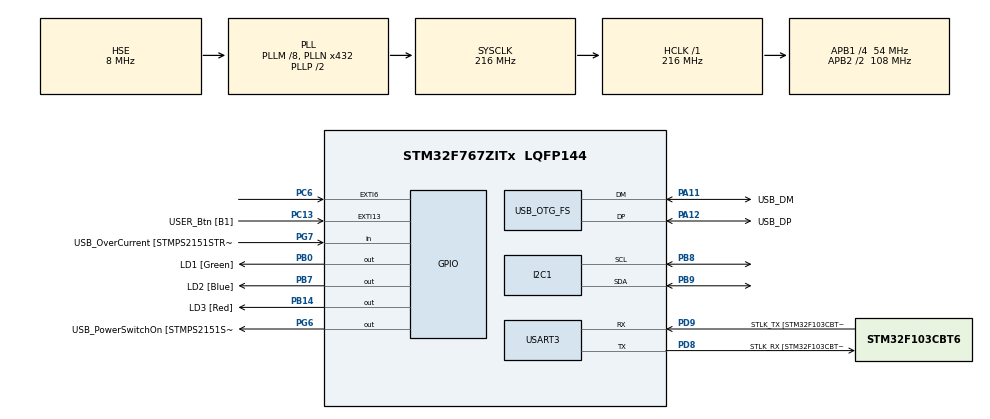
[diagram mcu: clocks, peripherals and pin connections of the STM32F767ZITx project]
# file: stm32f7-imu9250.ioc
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I2C1.Timing=0x20404768
Mcu.Family=STM32F7
Mcu.Name=STM32F767ZITx
Mcu.Package=LQFP144
NVIC.OTG_FS_IRQn=true\:0\:0\:false\:false\:true\:false
NVIC.PriorityGroup=NVIC_PRIORITYGROUP_4
PA11.GPIO_Label=USB_DM
PA11.Mode=Device_Only
PA11.Signal=USB_OTG_FS_DM
PA12.GPIO_Label=USB_DP
PA12.Mode=Device_Only
PA12.Signal=USB_OTG_FS_DP
PA13.GPIO_Label=TMS
PA13.Mode=Serial_Wire
PA13.Signal=SYS_JTMS-SWDIO
PA14.GPIO_Label=TCK
PA14.Mode=Serial_Wire
PA14.Signal=SYS_JTCK-SWCLK
PB0.GPIO_Label=LD1 [Green]
PB0.Signal=GPIO_Output
PB14.GPIO_Label=LD3 [Red]
PB14.Signal=GPIO_Output
PB7.GPIO_Label=LD2 [Blue]
PB7.Signal=GPIO_Output
PB8.Mode=I2C
PB8.Signal=I2C1_SCL
PB9.Mode=I2C
PB9.Signal=I2C1_SDA
PC13.GPIO_Label=USER_Btn [B1]
PC13.Signal=GPXTI13
PC14/OSC32_IN.Mode=LSE-External-Oscillator
PC14/OSC32_IN.Signal=RCC_OSC32_IN
PC15/OSC32_OUT.Mode=LSE-External-Oscillator
PC15/OSC32_OUT.Signal=RCC_OSC32_OUT
PC6.Signal=GPXTI6
PD8.GPIO_Label=STLK_RX [STM32F103CBT6_PA3]
PD8.Mode=Asynchronous
PD8.Signal=USART3_TX
PD9.GPIO_Label=STLK_TX [STM32F103CBT6_PA2]
PD9.Mode=Asynchronous
PD9.Signal=USART3_RX
PG6.GPIO_Label=USB_PowerSwitchOn [STMPS2151STR_EN]
PG6.Signal=GPIO_Output
PG7.GPIO_Label=USB_OverCurrent [STMPS2151STR_FAULT]
PG7.Signal=GPIO_Input
PH0/OSC_IN.GPIO_Label=MCO [STM32F103CBT6_PA8]
PH0/OSC_IN.Mode=HSE-External-Clock-Source
PH0/OSC_IN.Signal=RCC_OSC_IN
PH1/OSC_OUT.Mode=HSE-External-Clock-Source
PH1/OSC_OUT.Signal=RCC_OSC_OUT
ProjectManager.HeapSize=0x200
ProjectManager.StackSize=0x400
ProjectManager.TargetToolchain=TrueSTUDIO
RCC.48MHZClocksFreq_Value=24000000
RCC.AHBFreq_Value=216000000
RCC.APB1CLKDivider=RCC_HCLK_DIV4
RCC.APB1Freq_Value=54000000
RCC.APB1TimFreq_Value=108000000
RCC.APB2CLKDivider=RCC_HCLK_DIV2
RCC.APB2Freq_Value=108000000
RCC.APB2TimFreq_Value=216000000
RCC.CortexFreq_Value=216000000
RCC.HCLKFreq_Value=216000000
RCC.HSE_VALUE=8000000
RCC.HSI_VALUE=16000000
RCC.PLLM=8
RCC.PLLMUL=RCC_PLL_MUL9
RCC.PLLN=432
RCC.PLLQ=9
RCC.PRESCALERUSB=RCC_USBCLKSOURCE_PLL_DIV1_5
RCC.SYSCLKFreq_VALUE=216000000
RCC.SYSCLKSource=RCC_SYSCLKSOURCE_PLLCLK
RCC.SYSCLKSourceVirtual=RCC_SYSCLKSOURCE_PLLCLK
RCC.USBFreq_Value=48000000
RCC.VCOOutputFreq_Value=432000000
USART3.VirtualMode-Asynchronous=VM_ASYNC
USB_DEVICE.CLASS_NAME_FS=CDC
USB_DEVICE.VirtualMode-CDC_FS=Cdc
USB_DEVICE.VirtualModeFS=Cdc_FS
USB_OTG_FS.VirtualMode=Device_Only
VP_USB_DEVICE_VS_USB_DEVICE_CDC_FS.Mode=CDC_FS
board=NUCLEO-F767ZI

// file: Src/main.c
/**
  ******************************************************************************
  * @file           : main.c
  * @brief          : Main program body
  ******************************************************************************
  * This notice applies to any and all portions of this file
  * that are not between comment pairs USER CODE BEGIN and
  * USER CODE END. Other portions of this file, whether
  * inserted by the user or by software development tools
  * are owned by their respective copyright owners.
  *
  * Copyright (c) 2018 STMicroelectronics International N.V.
  * All rights reserved.
  *
  * Redistribution and use in source and binary forms, with or without
  * modification, are permitted, provided that the following conditions are met:
  *
  * 1. Redistribution of source code must retain the above copyright notice,
  *    this list of conditions and the following disclaimer.
  * 2. Redistributions in binary form must reproduce the above copyright notice,
  *    this list of conditions and the following disclaimer in the documentation
  *    and/or other materials provided with the distribution.
  * 3. Neither the name of STMicroelectronics nor the names of other
  *    contributors to this software may be used to endorse or promote products
  *    derived from this software without specific written permission.
  * 4. This software, including modifications and/or derivative works of this
  *    software, must execute solely and exclusively on microcontroller or
  *    microprocessor devices manufactured by or for STMicroelectronics.
  * 5. Redistribution and use of this software other than as permitted under
  *    this license is void and will automatically terminate your rights under
  *    this license.
  *
  * THIS SOFTWARE IS PROVIDED BY STMICROELECTRONICS AND CONTRIBUTORS "AS IS"
  * AND ANY EXPRESS, IMPLIED OR STATUTORY WARRANTIES, INCLUDING, BUT NOT
  * LIMITED TO, THE IMPLIED WARRANTIES OF MERCHANTABILITY, FITNESS FOR A
  * PARTICULAR PURPOSE AND NON-INFRINGEMENT OF THIRD PARTY INTELLECTUAL PROPERTY
  * RIGHTS ARE DISCLAIMED TO THE FULLEST EXTENT PERMITTED BY LAW. IN NO EVENT
  * SHALL STMICROELECTRONICS OR CONTRIBUTORS BE LIABLE FOR ANY DIRECT, INDIRECT,
  * INCIDENTAL, SPECIAL, EXEMPLARY, OR CONSEQUENTIAL DAMAGES (INCLUDING, BUT NOT
  * LIMITED TO, PROCUREMENT OF SUBSTITUTE GOODS OR SERVICES; LOSS OF USE, DATA,
  * OR PROFITS; OR BUSINESS INTERRUPTION) HOWEVER CAUSED AND ON ANY THEORY OF
  * LIABILITY, WHETHER IN CONTRACT, STRICT LIABILITY, OR TORT (INCLUDING
  * NEGLIGENCE OR OTHERWISE) ARISING IN ANY WAY OUT OF THE USE OF THIS SOFTWARE,
  * EVEN IF ADVISED OF THE POSSIBILITY OF SUCH DAMAGE.
  *
  ******************************************************************************
  */
#include "main.h"
#include "usb_device.h"

/* USER CODE BEGIN Includes */
#include "MPU9250.h"
#include "IMU.h"

#ifdef __GNUC__
	/* With GCC/RAISONANCE, small printf (option LD Linker->Libraries->Small printf
		 set to 'Yes') calls __io_putchar() */
	#define PUTCHAR_PROTOTYPE int __io_putchar(uint8_t* ptr, int32_t len)
#else
	#define PUTCHAR_PROTOTYPE int fputc(int ch, FILE *f)
#endif /* __GNUC__ */

/* USER CODE END Includes */

I2C_HandleTypeDef hi2c1;

UART_HandleTypeDef huart3;

/* USER CODE BEGIN PV */
/* Private variables ---------------------------------------------------------*/

uint8_t UART_UpdataFlag = 0;
uint8_t IMU_SampleFlag = 0;
uint8_t Press_SampleFlag = 0;

uint8_t count = 0;

/* USER CODE END PV */

void SystemClock_Config(void);
static void MX_GPIO_Init(void);
static void MX_I2C1_Init(void);
static void MX_USART3_UART_Init(void);

/* USER CODE BEGIN PFP */
/* Private function prototypes -----------------------------------------------*/

/* USER CODE END PFP */

/* USER CODE BEGIN 0 */

PUTCHAR_PROTOTYPE
{
  /* Place your implementation of fputc here */
  HAL_UART_Transmit(&huart3, ptr, len, 20);
  return len;
}

/* USER CODE END 0 */

int main(void)
{

  /* MCU Configuration----------------------------------------------------------*/

  /* Reset of all peripherals, Initializes the Flash interface and the Systick. */
  HAL_Init();

  /* Configure the system clock */
  SystemClock_Config();

  /* Initialize all configured peripherals */
  MX_GPIO_Init();
  MX_I2C1_Init();
  MX_USART3_UART_Init();
  MX_USB_DEVICE_Init();
  /* USER CODE BEGIN 2 */

  printf("\r\nDuvitech IMU Demo\r\n");
  if(HAL_I2C_IsDeviceReady(&hi2c1, 0xD0,0x02,0x100)!=HAL_OK){

    printf("Failed to find MPU\r\n");
  }

  IMU_Init();

  /* USER CODE END 2 */

  /* Infinite loop */
  while (1)
  {

  /* USER CODE BEGIN 3 */
	if (IMU_SampleFlag) {
		IMU_GetYawPitchRoll(angles);
		IMU_SampleFlag = 0;
	}
	if (UART_UpdataFlag) {
		HAL_GPIO_TogglePin(LD2_GPIO_Port, LD2_Pin);
		printf(
				"\r\n-------------------------------------------------------------\r\n");
		printf("Roll: %.2f     Pitch: %.2f     Yaw: %.2f \r\n",
				angles[2], angles[1], angles[0]);
		printf("Acceleration: X: %d     Y: %d     Z: %d \r\n",
				accel[0], accel[1], accel[2]);
		printf("Gyroscope: X: %d     Y: %d     Z: %d \r\n", gyro[0],
				gyro[1], gyro[2]);
		printf("Magnetic: X: %d     Y: %d     Z: %d \r\n", magn[0],
				magn[1], magn[2]);
		UART_UpdataFlag = 0;
	}
    HAL_GPIO_TogglePin(LD1_GPIO_Port, LD1_Pin);
    HAL_Delay(50);
	IMU_SampleFlag = 1;
	if(count>5){
		UART_UpdataFlag = 1;
		count = 0;
	}
	count++;
  }
  /* USER CODE END 3 */

}

void SystemClock_Config(void)
{

  RCC_OscInitTypeDef RCC_OscInitStruct;
  RCC_ClkInitTypeDef RCC_ClkInitStruct;
  RCC_PeriphCLKInitTypeDef PeriphClkInitStruct;

    /**Configure the main internal regulator output voltage
    */
  __HAL_RCC_PWR_CLK_ENABLE();

  __HAL_PWR_VOLTAGESCALING_CONFIG(PWR_REGULATOR_VOLTAGE_SCALE1);

    /**Initializes the CPU, AHB and APB busses clocks
    */
  RCC_OscInitStruct.OscillatorType = RCC_OSCILLATORTYPE_HSE;
  RCC_OscInitStruct.HSEState = RCC_HSE_BYPASS;
  RCC_OscInitStruct.PLL.PLLState = RCC_PLL_ON;
  RCC_OscInitStruct.PLL.PLLSource = RCC_PLLSOURCE_HSE;
  RCC_OscInitStruct.PLL.PLLM = 8;
  RCC_OscInitStruct.PLL.PLLN = 432;
  RCC_OscInitStruct.PLL.PLLP = RCC_PLLP_DIV2;
  RCC_OscInitStruct.PLL.PLLQ = 9;
  if (HAL_RCC_OscConfig(&RCC_OscInitStruct) != HAL_OK)
  {
    _Error_Handler(__FILE__, __LINE__);
  }

    /**Activate the Over-Drive mode
    */
  if (HAL_PWREx_EnableOverDrive() != HAL_OK)
  {
    _Error_Handler(__FILE__, __LINE__);
  }

    /**Initializes the CPU, AHB and APB busses clocks
    */
  RCC_ClkInitStruct.ClockType = RCC_CLOCKTYPE_HCLK|RCC_CLOCKTYPE_SYSCLK
                              |RCC_CLOCKTYPE_PCLK1|RCC_CLOCKTYPE_PCLK2;
  RCC_ClkInitStruct.SYSCLKSource = RCC_SYSCLKSOURCE_PLLCLK;
  RCC_ClkInitStruct.AHBCLKDivider = RCC_SYSCLK_DIV1;
  RCC_ClkInitStruct.APB1CLKDivider = RCC_HCLK_DIV4;
  RCC_ClkInitStruct.APB2CLKDivider = RCC_HCLK_DIV2;

  if (HAL_RCC_ClockConfig(&RCC_ClkInitStruct, FLASH_LATENCY_7) != HAL_OK)
  {
    _Error_Handler(__FILE__, __LINE__);
  }

  PeriphClkInitStruct.PeriphClockSelection = RCC_PERIPHCLK_USART3|RCC_PERIPHCLK_I2C1
                              |RCC_PERIPHCLK_CLK48;
  PeriphClkInitStruct.Usart3ClockSelection = RCC_USART3CLKSOURCE_PCLK1;
  PeriphClkInitStruct.I2c1ClockSelection = RCC_I2C1CLKSOURCE_PCLK1;
  PeriphClkInitStruct.Clk48ClockSelection = RCC_CLK48SOURCE_PLL;
  if (HAL_RCCEx_PeriphCLKConfig(&PeriphClkInitStruct) != HAL_OK)
  {
    _Error_Handler(__FILE__, __LINE__);
  }

    /**Configure the Systick interrupt time
    */
  HAL_SYSTICK_Config(HAL_RCC_GetHCLKFreq()/1000);

    /**Configure the Systick
    */
  HAL_SYSTICK_CLKSourceConfig(SYSTICK_CLKSOURCE_HCLK);

  /* SysTick_IRQn interrupt configuration */
  HAL_NVIC_SetPriority(SysTick_IRQn, 0, 0);
}

/* I2C1 init function */
static void MX_I2C1_Init(void)
{

  hi2c1.Instance = I2C1;
  hi2c1.Init.Timing = 0x20404768;
  hi2c1.Init.OwnAddress1 = 0;
  hi2c1.Init.AddressingMode = I2C_ADDRESSINGMODE_7BIT;
  hi2c1.Init.DualAddressMode = I2C_DUALADDRESS_DISABLE;
  hi2c1.Init.OwnAddress2 = 0;
  hi2c1.Init.OwnAddress2Masks = I2C_OA2_NOMASK;
  hi2c1.Init.GeneralCallMode = I2C_GENERALCALL_DISABLE;
  hi2c1.Init.NoStretchMode = I2C_NOSTRETCH_DISABLE;
  if (HAL_I2C_Init(&hi2c1) != HAL_OK)
  {
    _Error_Handler(__FILE__, __LINE__);
  }

    /**Configure Analogue filter
    */
  if (HAL_I2CEx_ConfigAnalogFilter(&hi2c1, I2C_ANALOGFILTER_ENABLE) != HAL_OK)
  {
    _Error_Handler(__FILE__, __LINE__);
  }

    /**Configure Digital filter
    */
  if (HAL_I2CEx_ConfigDigitalFilter(&hi2c1, 0) != HAL_OK)
  {
    _Error_Handler(__FILE__, __LINE__);
  }

}

/* USART3 init function */
static void MX_USART3_UART_Init(void)
{

  huart3.Instance = USART3;
  huart3.Init.BaudRate = 115200;
  huart3.Init.WordLength = UART_WORDLENGTH_8B;
  huart3.Init.StopBits = UART_STOPBITS_1;
  huart3.Init.Parity = UART_PARITY_NONE;
  huart3.Init.Mode = UART_MODE_TX_RX;
  huart3.Init.HwFlowCtl = UART_HWCONTROL_NONE;
  huart3.Init.OverSampling = UART_OVERSAMPLING_16;
  huart3.Init.OneBitSampling = UART_ONE_BIT_SAMPLE_DISABLE;
  huart3.AdvancedInit.AdvFeatureInit = UART_ADVFEATURE_NO_INIT;
  if (HAL_UART_Init(&huart3) != HAL_OK)
  {
    _Error_Handler(__FILE__, __LINE__);
  }

}

/** Configure pins as
        * Analog
        * Input
        * Output
        * EVENT_OUT
        * EXTI
*/
static void MX_GPIO_Init(void)
{

  GPIO_InitTypeDef GPIO_InitStruct;

  /* GPIO Ports Clock Enable */
  __HAL_RCC_GPIOC_CLK_ENABLE();
  __HAL_RCC_GPIOH_CLK_ENABLE();
  __HAL_RCC_GPIOB_CLK_ENABLE();
  __HAL_RCC_GPIOD_CLK_ENABLE();
  __HAL_RCC_GPIOG_CLK_ENABLE();
  __HAL_RCC_GPIOA_CLK_ENABLE();

  /*Configure GPIO pin Output Level */
  HAL_GPIO_WritePin(GPIOB, LD3_Pin|LD1_Pin|LD2_Pin, GPIO_PIN_RESET);

  /*Configure GPIO pin Output Level */
  HAL_GPIO_WritePin(USB_PowerSwitchOn_GPIO_Port, USB_PowerSwitchOn_Pin, GPIO_PIN_RESET);

  /*Configure GPIO pins : USER_Btn_Pin PC6 */
  GPIO_InitStruct.Pin = USER_Btn_Pin|GPIO_PIN_6;
  GPIO_InitStruct.Mode = GPIO_MODE_IT_RISING;
  GPIO_InitStruct.Pull = GPIO_NOPULL;
  HAL_GPIO_Init(GPIOC, &GPIO_InitStruct);

  /*Configure GPIO pins : LD3_Pin LD1_Pin LD2_Pin */
  GPIO_InitStruct.Pin = LD3_Pin|LD1_Pin|LD2_Pin;
  GPIO_InitStruct.Mode = GPIO_MODE_OUTPUT_PP;
  GPIO_InitStruct.Pull = GPIO_NOPULL;
  GPIO_InitStruct.Speed = GPIO_SPEED_FREQ_LOW;
  HAL_GPIO_Init(GPIOB, &GPIO_InitStruct);

}

void _Error_Handler(char *file, int line)
{
  while(1)
  {
  }
}

/************************ (C) COPYRIGHT STMicroelectronics *****END OF FILE****/
